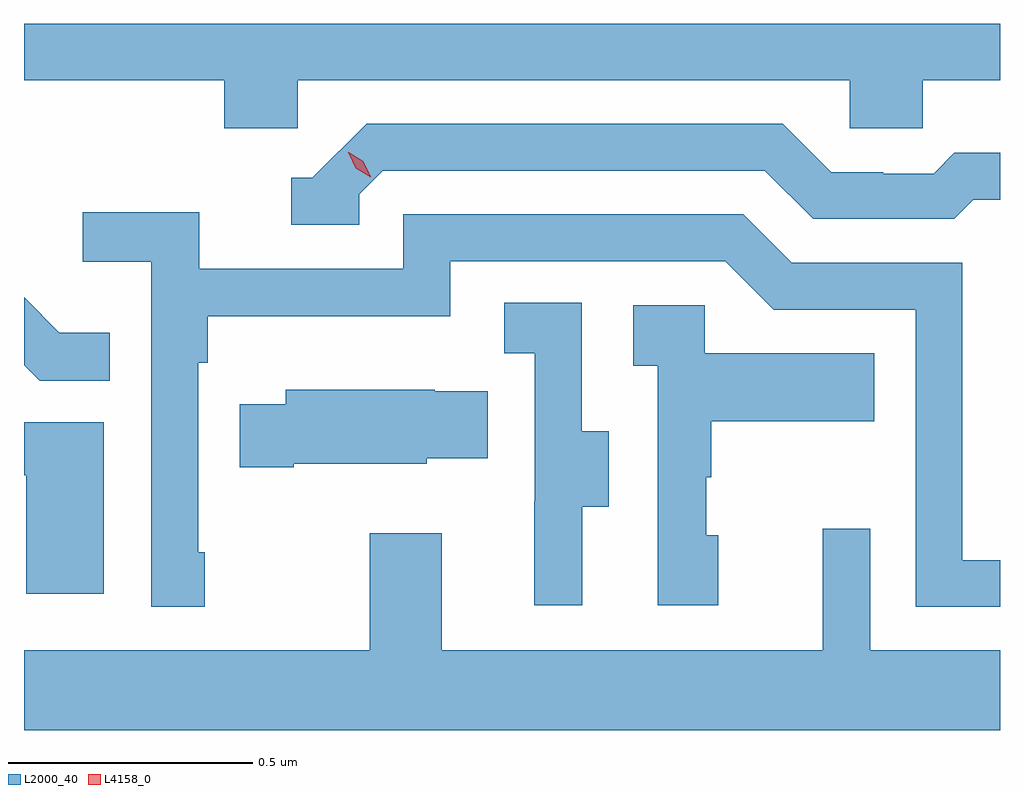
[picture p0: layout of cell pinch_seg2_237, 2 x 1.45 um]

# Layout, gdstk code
import gdstk
lib = gdstk.Library(unit=1e-6, precision=1e-09)
def P(c, l, *ps):  # polygons
    for p in ps: c.add(gdstk.Polygon(p, *l))
L2000_40 = (2000, 40)
L4158_0 = (4158, 0)

pinch_seg2_237 = lib.new_cell('pinch_seg2_237')
P(pinch_seg2_237, L2000_40, [(952.668,666.284),(953.799,666.284),(953.799,666.186),(953.949,666.186),(953.949,666.284),(954.107,666.284),(954.107,666.4),(952.107,666.4),(952.107,666.284),(952.517,666.284),(952.517,666.186),(952.668,666.186)],
  [(952.794,666.051),(952.842,666.099),(953.625,666.099),(953.724,666),(954.013,666),(954.052,666.039),(954.107,666.039),(954.107,666.136),(954.013,666.136),(953.971,666.093),(953.868,666.093),(953.868,666.096),(953.761,666.096),(953.662,666.195),(952.809,666.195),(952.698,666.084),(952.655,666.084),(952.655,665.988),(952.794,665.988)],
  [(952.477,665.317),(952.464,665.317),(952.464,665.705),(952.484,665.705),(952.484,665.801),(952.98,665.801),(952.98,665.913),(953.544,665.913),(953.643,665.814),(953.934,665.814),(953.934,665.205),(954.107,665.205),(954.107,665.301),(954.03,665.301),(954.03,665.91),(953.68,665.91),(953.581,666.009),(952.884,666.009),(952.884,665.898),(952.466,665.898),(952.466,666.014),(952.227,666.014),(952.227,665.912),(952.368,665.912),(952.368,665.205),(952.477,665.205)],
  [(952.283,665.767),(952.179,665.767),(952.107,665.839),(952.107,665.7),(952.139,665.668),(952.283,665.668)],
  [(953.251,665.41),(953.305,665.41),(953.305,665.565),(953.25,665.565),(953.25,665.828),(953.091,665.828),(953.091,665.725),(953.154,665.725),(953.154,665.421),(953.153,665.421),(953.153,665.208),(953.251,665.208)],
  [(953.53,665.352),(953.505,665.352),(953.505,665.471),(953.515,665.471),(953.515,665.585),(953.849,665.585),(953.849,665.725),(953.502,665.725),(953.502,665.823),(953.355,665.823),(953.355,665.699),(953.406,665.699),(953.406,665.208),(953.53,665.208)],
  [(952.66,665.498),(952.932,665.498),(952.932,665.51),(953.057,665.51),(953.057,665.647),(952.949,665.647),(952.949,665.65),(952.643,665.65),(952.643,665.62),(952.549,665.62),(952.549,665.491),(952.66,665.491)],
  [(952.27,665.583),(952.107,665.583),(952.107,665.475),(952.112,665.475),(952.112,665.232),(952.27,665.232)],
  [(954.107,665.116),(953.841,665.116),(953.841,665.365),(953.744,665.365),(953.744,665.116),(952.963,665.116),(952.963,665.356),(952.816,665.356),(952.816,665.116),(952.107,665.116),(952.107,664.952),(954.107,664.952)])
P(pinch_seg2_237, L4158_0, [(952.818,666.085),(952.787,666.104),(952.771,666.137),(952.771,666.137),(952.772,666.137),(952.802,666.118),(952.818,666.086),(952.818,666.085)])

lib.write_gds('pinch_seg2_237.gds')
